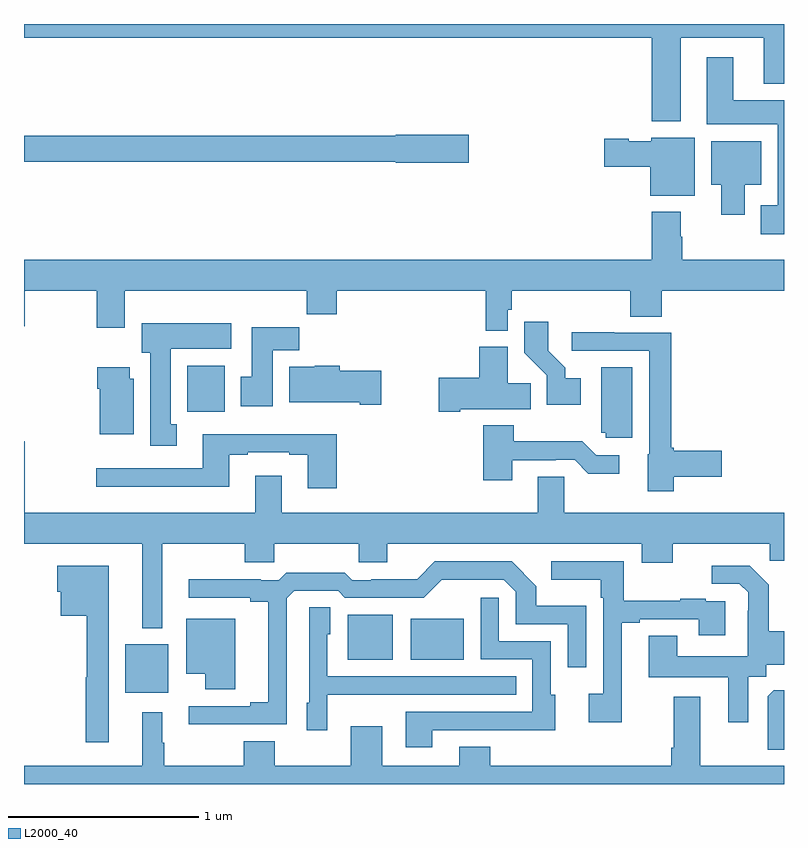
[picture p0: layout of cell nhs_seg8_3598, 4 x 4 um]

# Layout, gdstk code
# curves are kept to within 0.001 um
import gdstk
lib = gdstk.Library(unit=1e-6, precision=1e-09)
def R(c, l, rs):  # rectangles x0, y0, x1, y1
    for r in rs: c.add(gdstk.rectangle(r[:2], r[2:], *l))
def P(c, l, *ps):  # polygons
    for p in ps: c.add(gdstk.Polygon(p, *l))
L2000_40 = (2000, 40)

nhs_seg8_3598 = lib.new_cell('nhs_seg8_3598')
R(nhs_seg8_3598, L2000_40, [(333.533,1118.381,333.76,1118.635), (334.703,1118.555,334.942,1118.791), (335.036,1118.555,335.314,1118.77), (333.86,1119.86,334.057,1120.102)])
P(nhs_seg8_3598, L2000_40, [(336.457,1121.828),(336.893,1121.828),(336.893,1121.585),(337,1121.585),(337,1121.9),(333,1121.9),(333,1121.828),(336.305,1121.828),(336.305,1121.387),(336.457,1121.387)],
  [(337,1121.5),(336.733,1121.5),(336.733,1121.725),(336.593,1121.725),(336.593,1121.372),(336.968,1121.372),(336.968,1120.945),(336.878,1120.945),(336.878,1120.793),(337,1120.793)],
  [(335.341,1121.318),(334.956,1121.318),(334.956,1121.312),(333,1121.312),(333,1121.176),(334.956,1121.176),(334.956,1121.171),(335.341,1121.171)],
  [(336.529,1121.302),(336.3,1121.302),(336.3,1121.284),(336.183,1121.284),(336.183,1121.297),(336.054,1121.297),(336.054,1121.15),(336.296,1121.15),(336.296,1120.997),(336.529,1120.997)],
  [(336.793,1121.054),(336.88,1121.054),(336.88,1121.284),(336.617,1121.284),(336.617,1121.054),(336.671,1121.054),(336.671,1120.896),(336.793,1120.896)],
  [(335.547,1120.395),(335.567,1120.395),(335.567,1120.496),(336.191,1120.496),(336.191,1120.36),(336.356,1120.36),(336.356,1120.496),(337,1120.496),(337,1120.66),(336.465,1120.66),(336.465,1120.781),(336.457,1120.781),(336.457,1120.912),(336.305,1120.912),(336.305,1120.66),(333,1120.66),(333,1120.308),(333.004,1120.308),(333.004,1120.496),(333.382,1120.496),(333.382,1120.302),(333.529,1120.302),(333.529,1120.496),(334.489,1120.496),(334.489,1120.372),(334.646,1120.372),(334.646,1120.496),(335.431,1120.496),(335.431,1120.286),(335.547,1120.286)],
  [(335.929,1120.036),(335.848,1120.036),(335.848,1120.091),(335.758,1120.181),(335.758,1120.333),(335.632,1120.333),(335.632,1120.17),(335.751,1120.051),(335.751,1119.896),(335.929,1119.896)],
  [(333.805,1119.794),(333.772,1119.794),(333.772,1120.19),(334.09,1120.19),(334.09,1120.324),(333.62,1120.324),(333.62,1120.17),(333.665,1120.17),(333.665,1119.681),(333.805,1119.681)],
  [(334.309,1120.184),(334.448,1120.184),(334.448,1120.303),(334.199,1120.303),(334.199,1120.044),(334.142,1120.044),(334.142,1119.888),(334.309,1119.888)],
  [(336.42,1119.518),(336.673,1119.518),(336.673,1119.653),(336.42,1119.653),(336.42,1119.671),(336.407,1119.671),(336.407,1120.275),(336.107,1120.275),(336.107,1120.278),(335.883,1120.278),(335.883,1120.179),(336.291,1120.179),(336.291,1119.636),(336.284,1119.636),(336.284,1119.44),(336.42,1119.44)],
  [(335.296,1119.872),(335.666,1119.872),(335.666,1120.01),(335.545,1120.01),(335.545,1120.201),(335.396,1120.201),(335.396,1120.038),(335.184,1120.038),(335.184,1119.86),(335.296,1119.86)],
  [(334.879,1120.074),(334.661,1120.074),(334.661,1120.102),(334.53,1120.102),(334.53,1120.096),(334.397,1120.096),(334.397,1119.908),(334.766,1119.908),(334.766,1119.896),(334.879,1119.896)],
  [(336.202,1120.094),(336.038,1120.094),(336.038,1119.75),(336.063,1119.75),(336.063,1119.723),(336.202,1119.723)],
  [(333.577,1120.032),(333.556,1120.032),(333.556,1120.093),(333.386,1120.093),(333.386,1119.98),(333.398,1119.98),(333.398,1119.74),(333.577,1119.74)],
  [(335.569,1119.603),(335.798,1119.603),(335.798,1119.606),(335.898,1119.606),(335.971,1119.533),(336.133,1119.533),(336.133,1119.63),(336.012,1119.63),(335.939,1119.703),(335.577,1119.703),(335.577,1119.787),(335.417,1119.787),(335.417,1119.498),(335.569,1119.498)],
  [(334.646,1119.742),(333.941,1119.742),(333.941,1119.561),(333.381,1119.561),(333.381,1119.464),(334.081,1119.464),(334.081,1119.633),(334.177,1119.633),(334.177,1119.645),(334.397,1119.645),(334.397,1119.633),(334.493,1119.633),(334.493,1119.456),(334.646,1119.456)],
  [(334.317,1119.164),(334.762,1119.164),(334.762,1119.066),(334.912,1119.066),(334.912,1119.164),(336.251,1119.164),(336.251,1119.065),(336.415,1119.065),(336.415,1119.164),(336.925,1119.164),(336.925,1119.074),(337,1119.074),(337,1119.328),(335.844,1119.328),(335.844,1119.518),(335.705,1119.518),(335.705,1119.328),(334.357,1119.328),(334.357,1119.523),(334.217,1119.523),(334.217,1119.328),(333.004,1119.328),(333.004,1119.703),(333,1119.703),(333,1119.164),(333.623,1119.164),(333.623,1118.72),(333.727,1118.72),(333.727,1119.164),(334.162,1119.164),(334.162,1119.066),(334.317,1119.066)],
  [(336.145,1118.748),(336.241,1118.748),(336.241,1118.766),(336.551,1118.766),(336.551,1118.682),(336.691,1118.682),(336.691,1118.862),(336.587,1118.862),(336.587,1118.875),(336.455,1118.875),(336.455,1118.864),(336.157,1118.864),(336.157,1119.072),(335.775,1119.072),(335.775,1118.975),(336.036,1118.975),(336.036,1118.879),(336.048,1118.879),(336.048,1118.374),(335.973,1118.374),(335.973,1118.226),(336.145,1118.226)],
  [(334.383,1118.877),(334.422,1118.916),(334.653,1118.916),(334.689,1118.88),(335.103,1118.88),(335.198,1118.975),(335.526,1118.976),(335.589,1118.913),(335.589,1118.742),(335.862,1118.742),(335.862,1118.514),(335.958,1118.514),(335.958,1118.839),(335.697,1118.839),(335.697,1118.942),(335.566,1119.072),(335.163,1119.072),(335.069,1118.978),(334.828,1118.978),(334.828,1118.973),(334.728,1118.973),(334.689,1119.013),(334.381,1119.013),(334.341,1118.973),(334.247,1118.973),(334.247,1118.978),(333.867,1118.978),(333.867,1118.88),(334.19,1118.88),(334.19,1118.858),(334.286,1118.858),(334.286,1118.33),(334.19,1118.33),(334.19,1118.31),(333.867,1118.31),(333.867,1118.214),(334.383,1118.214)],
  [(333.445,1119.049),(333.176,1119.049),(333.176,1118.913),(333.194,1118.913),(333.194,1118.786),(333.331,1118.786),(333.331,1118.462),(333.324,1118.462),(333.324,1118.121),(333.445,1118.121)],
  [(336.811,1118.464),(336.906,1118.464),(336.906,1118.528),(337,1118.528),(337,1118.704),(336.921,1118.704),(336.921,1118.949),(336.821,1119.049),(336.621,1119.049),(336.621,1118.955),(336.765,1118.955),(336.812,1118.908),(336.812,1118.813),(336.81,1118.813),(336.81,1118.572),(336.439,1118.572),(336.439,1118.681),(336.287,1118.681),(336.287,1118.462),(336.707,1118.462),(336.707,1118.226),(336.811,1118.226)],
  [(335.149,1118.184),(335.579,1118.184),(335.579,1118.183),(335.797,1118.183),(335.797,1118.37),(335.772,1118.37),(335.772,1118.652),(335.499,1118.652),(335.499,1118.881),(335.403,1118.881),(335.403,1118.556),(335.676,1118.556),(335.676,1118.28),(335.009,1118.28),(335.009,1118.094),(335.149,1118.094)],
  [(334.596,1118.369),(334.913,1118.369),(334.913,1118.37),(335.591,1118.37),(335.591,1118.466),(334.596,1118.466),(334.596,1118.688),(334.612,1118.688),(334.612,1118.831),(334.5,1118.831),(334.5,1118.328),(334.487,1118.328),(334.487,1118.184),(334.596,1118.184)],
  [(334.111,1118.77),(333.854,1118.77),(333.854,1118.48),(333.953,1118.48),(333.953,1118.4),(334.111,1118.4)],
  [(337,1118.393),(336.947,1118.393),(336.915,1118.361),(336.915,1118.081),(337,1118.081)],
  [(337,1117.996),(336.559,1117.996),(336.559,1118.359),(336.419,1118.359),(336.419,1118.092),(336.407,1118.092),(336.407,1117.996),(335.455,1117.996),(335.455,1118.095),(335.291,1118.095),(335.291,1117.996),(334.885,1117.996),(334.885,1118.203),(334.721,1118.203),(334.721,1117.996),(334.321,1117.996),(334.321,1118.125),(334.157,1118.125),(334.157,1117.996),(333.737,1117.996),(333.737,1118.117),(333.727,1118.117),(333.727,1118.278),(333.623,1118.278),(333.623,1117.996),(333,1117.996),(333,1117.9),(337,1117.9)])

lib.write_gds('nhs_seg8_3598.gds')
